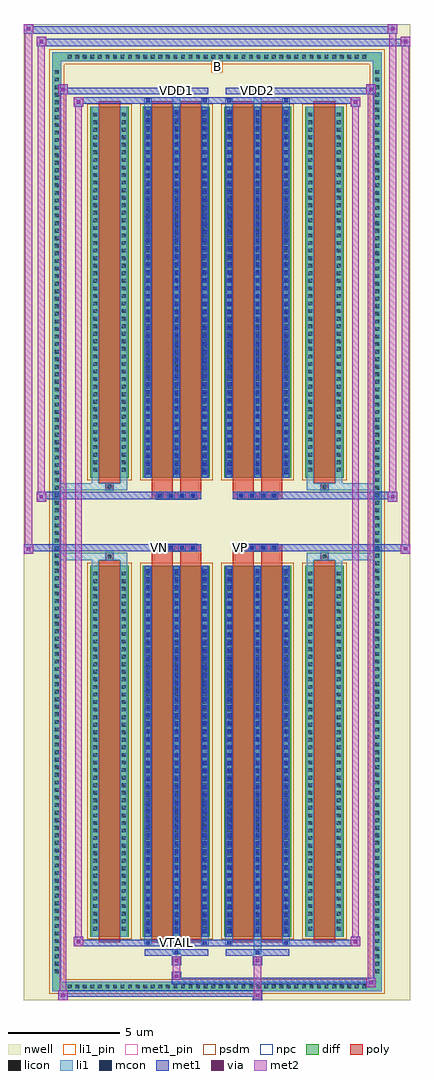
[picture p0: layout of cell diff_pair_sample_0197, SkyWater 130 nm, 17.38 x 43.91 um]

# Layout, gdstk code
import gdstk
lib = gdstk.Library(unit=1e-6, precision=5e-09)
def R(c, l, rs):  # rectangles x0, y0, x1, y1
    for r in rs: c.add(gdstk.rectangle(r[:2], r[2:], *l))
def A(c, l, x, y, w, h, nx, ny, dx, dy):  # array of equal rectangles
    R(c, l, [(x+i*dx, y+j*dy, x+i*dx+w, y+j*dy+h) for i in range(nx) for j in range(ny)])
def P(c, l, *ps):  # polygons
    for p in ps: c.add(gdstk.Polygon(p, *l))
nwell = (64, 20)
diff = (65, 20)
poly = (66, 20)
licon = (66, 44)
li1_pin = (67, 16)
li1 = (67, 20)
mcon = (67, 44)
met1_pin = (68, 16)
met1 = (68, 20)
via = (68, 44)
met2 = (69, 20)
psdm = (94, 20)
npc = (95, 20)

diff_pair_sample_0197 = lib.new_cell('diff_pair_sample_0197')
R(diff_pair_sample_0197, nwell, [(-8.69,-21.52,8.69,22.39), (-6.01,-19.71,-0.01,-0.805), (0.01,-19.71,6.01,-0.805), (-6.01,0.805,-0.01,19.71), (0.01,0.805,6.01,19.71)])
A(diff_pair_sample_0197, diff, -6.835, -21.12, 0.41, 0.41, 40, 2, 0.34, 41.83)
A(diff_pair_sample_0197, diff, -7.42, -20.435, 0.41, 0.41, 1, 120, 0, 0.34)
A(diff_pair_sample_0197, diff, 7.01, -20.435, 0.41, 0.41, 1, 120, 0, 0.34)
R(diff_pair_sample_0197, diff, [(-6.835,-21.12,6.835,-20.71), (-7.42,-20.435,-7.01,20.435), (7.01,-20.435,7.42,20.435), (-5.7,-18.665,-3.97,-1.985), (-3.33,-18.665,-0.32,-1.985), (0.32,-18.665,3.33,-1.985), (3.97,-18.665,5.7,-1.985), (-5.7,1.985,-3.97,18.665), (-3.33,1.985,-0.32,18.665), (0.32,1.985,3.33,18.665), (3.97,1.985,5.7,18.665), (-6.835,20.71,6.835,21.12)])
P(diff_pair_sample_0197, diff, [(7.42,21.12),(-7.42,21.12),(-7.42,-20.71),(-7.01,-20.71),(-7.01,20.71),(7.01,20.71),(7.01,-20.71),(-7.01,-20.71),(-7.42,-20.71),(-7.42,-21.12),(7.42,-21.12)])
A(diff_pair_sample_0197, poly, -2.74, -1.335, 0.33, 0.33, 4, 2, 0.5, 2.34)
A(diff_pair_sample_0197, poly, 0.91, -1.335, 0.33, 0.33, 4, 2, 0.5, 2.34)
R(diff_pair_sample_0197, poly, [(-5.31,-18.915,-4.36,-1.735), (-2.94,-18.915,-1.99,-1.735), (-1.66,-18.915,-0.71,-1.735), (0.71,-18.915,1.66,-1.735), (1.99,-18.915,2.94,-1.735), (4.36,-18.915,5.31,-1.735), (-5,-1.735,-4.67,-1.405), (-5,-1.735,-4.67,-1.405), (-2.94,-1.735,-1.99,-1.335), (-1.66,-1.735,-0.71,-1.335), (0.71,-1.735,1.66,-1.335), (1.99,-1.735,2.94,-1.335), (4.67,-1.735,5,-1.405), (4.67,-1.735,5,-1.405), (-2.94,-1.335,-0.71,-1.005), (0.71,-1.335,2.94,-1.005), (-2.94,1.005,-0.71,1.335), (0.71,1.005,2.94,1.335), (-2.94,1.335,-1.99,1.735), (-1.66,1.335,-0.71,1.735), (0.71,1.335,1.66,1.735), (1.99,1.335,2.94,1.735), (-5,1.405,-4.67,1.735), (-5,1.405,-4.67,1.735), (4.67,1.405,5,1.735), (4.67,1.405,5,1.735), (-5.31,1.735,-4.36,18.915), (-2.94,1.735,-1.99,18.915), (-1.66,1.735,-0.71,18.915), (0.71,1.735,1.66,18.915), (1.99,1.735,2.94,18.915), (4.36,1.735,5.31,18.915)])
A(diff_pair_sample_0197, licon, -6.715, -21, 0.17, 0.17, 40, 2, 0.34, 41.83)
A(diff_pair_sample_0197, licon, -7.3, -20.315, 0.17, 0.17, 1, 120, 0, 0.34)
A(diff_pair_sample_0197, licon, 7.13, -20.315, 0.17, 0.17, 1, 120, 0, 0.34)
A(diff_pair_sample_0197, licon, -5.56, -18.4, 0.17, 0.17, 1, 48, 0, 0.34)
A(diff_pair_sample_0197, licon, -4.28, -18.4, 0.17, 0.17, 1, 48, 0, 0.34)
A(diff_pair_sample_0197, licon, -3.19, -18.4, 0.17, 0.17, 3, 48, 1.28, 0.34)
A(diff_pair_sample_0197, licon, 0.46, -18.4, 0.17, 0.17, 3, 48, 1.28, 0.34)
A(diff_pair_sample_0197, licon, 4.11, -18.4, 0.17, 0.17, 1, 48, 0, 0.34)
A(diff_pair_sample_0197, licon, 5.39, -18.4, 0.17, 0.17, 1, 48, 0, 0.34)
A(diff_pair_sample_0197, licon, -2.66, -1.255, 0.17, 0.17, 4, 2, 0.5, 2.34)
A(diff_pair_sample_0197, licon, 0.99, -1.255, 0.17, 0.17, 4, 2, 0.5, 2.34)
A(diff_pair_sample_0197, licon, -5.56, 2.25, 0.17, 0.17, 1, 48, 0, 0.34)
A(diff_pair_sample_0197, licon, -4.28, 2.25, 0.17, 0.17, 1, 48, 0, 0.34)
A(diff_pair_sample_0197, licon, -3.19, 2.25, 0.17, 0.17, 3, 48, 1.28, 0.34)
A(diff_pair_sample_0197, licon, 0.46, 2.25, 0.17, 0.17, 3, 48, 1.28, 0.34)
A(diff_pair_sample_0197, licon, 4.11, 2.25, 0.17, 0.17, 1, 48, 0, 0.34)
A(diff_pair_sample_0197, licon, 5.39, 2.25, 0.17, 0.17, 1, 48, 0, 0.34)
R(diff_pair_sample_0197, licon, [(-4.92,-1.655,-4.75,-1.485), (4.75,-1.655,4.92,-1.485), (-4.92,1.485,-4.75,1.655), (4.75,1.485,4.92,1.655)])
R(diff_pair_sample_0197, li1_pin, [(-0.25,20.21,0.25,20.71)])
A(diff_pair_sample_0197, li1, -6.795, -21.08, 0.33, 0.33, 40, 2, 0.34, 41.83)
A(diff_pair_sample_0197, li1, -7.38, -20.395, 0.33, 0.33, 1, 120, 0, 0.34)
A(diff_pair_sample_0197, li1, 7.05, -20.395, 0.33, 0.33, 1, 120, 0, 0.34)
A(diff_pair_sample_0197, li1, -3.27, -18.665, 0.33, 16.68, 3, 2, 1.28, 20.65)
A(diff_pair_sample_0197, li1, 0.38, -18.665, 0.33, 16.68, 3, 2, 1.28, 20.65)
A(diff_pair_sample_0197, li1, -3.19, -18.51, 0.17, 0.17, 3, 46, 1.28, 0.36)
A(diff_pair_sample_0197, li1, -3.19, -18.51, 0.17, 16.37, 3, 2, 1.28, 20.65)
A(diff_pair_sample_0197, li1, 0.46, -18.51, 0.17, 0.17, 3, 46, 1.28, 0.36)
A(diff_pair_sample_0197, li1, 0.46, -18.51, 0.17, 16.37, 3, 2, 1.28, 20.65)
A(diff_pair_sample_0197, li1, -5.64, -18.48, 0.33, 0.33, 1, 48, 0, 0.34)
A(diff_pair_sample_0197, li1, -4.36, -18.48, 0.33, 0.33, 1, 48, 0, 0.34)
A(diff_pair_sample_0197, li1, -3.27, -18.48, 0.33, 0.33, 3, 48, 1.28, 0.34)
A(diff_pair_sample_0197, li1, 0.38, -18.48, 0.33, 0.33, 3, 48, 1.28, 0.34)
A(diff_pair_sample_0197, li1, 4.03, -18.48, 0.33, 0.33, 1, 48, 0, 0.34)
A(diff_pair_sample_0197, li1, 5.31, -18.48, 0.33, 0.33, 1, 48, 0, 0.34)
A(diff_pair_sample_0197, li1, -2.74, -1.335, 0.33, 0.33, 4, 2, 0.5, 2.34)
A(diff_pair_sample_0197, li1, 0.91, -1.335, 0.33, 0.33, 4, 2, 0.5, 2.34)
A(diff_pair_sample_0197, li1, -3.19, 2.14, 0.17, 0.17, 3, 46, 1.28, 0.36)
A(diff_pair_sample_0197, li1, 0.46, 2.14, 0.17, 0.17, 3, 46, 1.28, 0.36)
A(diff_pair_sample_0197, li1, -5.64, 2.17, 0.33, 0.33, 1, 48, 0, 0.34)
A(diff_pair_sample_0197, li1, -4.36, 2.17, 0.33, 0.33, 1, 48, 0, 0.34)
A(diff_pair_sample_0197, li1, -3.27, 2.17, 0.33, 0.33, 3, 48, 1.28, 0.34)
A(diff_pair_sample_0197, li1, 0.38, 2.17, 0.33, 0.33, 3, 48, 1.28, 0.34)
A(diff_pair_sample_0197, li1, 4.03, 2.17, 0.33, 0.33, 1, 48, 0, 0.34)
A(diff_pair_sample_0197, li1, 5.31, 2.17, 0.33, 0.33, 1, 48, 0, 0.34)
R(diff_pair_sample_0197, li1, [(-7.42,-21.12,-7.01,-20.71), (-7.42,-21.12,-7.01,-20.71), (-7.01,-21.12,7.01,-20.71), (7.01,-21.12,7.42,-20.71), (7.01,-21.12,7.42,-20.71), (-7.42,-20.71,-7.01,20.71), (7.01,-20.71,7.42,20.71), (-1.99,-19.47,-1.66,-18.665), (-1.91,-19.47,-1.74,-19.3), (1.66,-19.47,1.99,-18.665), (1.74,-19.47,1.91,-19.3), (-3.27,-19.04,-2.94,-18.665), (-3.19,-19.04,-3.02,-18.87), (-0.71,-19.04,-0.38,-18.665), (-0.63,-19.04,-0.46,-18.87), (0.38,-19.04,0.71,-18.665), (0.46,-19.04,0.63,-18.87), (2.94,-19.04,3.27,-18.665), (3.02,-19.04,3.19,-18.87), (-5.64,-18.665,-5.31,-1.985), (-4.36,-18.665,-4.03,-1.985), (4.03,-18.665,4.36,-1.985), (5.31,-18.665,5.64,-1.985), (-5.64,-1.985,-5.31,-1.405), (-4.36,-1.985,-4.03,-1.405), (4.03,-1.985,4.36,-1.405), (5.31,-1.985,5.64,-1.405), (-7.42,-1.735,-5,-1.405), (-5.64,-1.735,-5,-1.405), (-5,-1.735,-4.67,-1.405), (-4.67,-1.735,-4.03,-1.405), (4.03,-1.735,4.67,-1.405), (4.67,-1.735,5,-1.405), (4.67,-1.735,7.42,-1.405), (5,-1.735,5.64,-1.405), (-7.42,1.405,-5,1.735), (-5.64,1.405,-5,1.735), (-5.64,1.405,-5.31,1.985), (-5,1.405,-4.67,1.735), (-4.67,1.405,-4.03,1.735), (-4.36,1.405,-4.03,1.985), (4.03,1.405,4.67,1.735), (4.03,1.405,4.36,1.985), (4.67,1.405,5,1.735), (4.67,1.405,7.42,1.735), (5,1.405,5.64,1.735), (5.31,1.405,5.64,1.985), (-5.64,1.985,-5.31,18.665), (-4.36,1.985,-4.03,18.665), (4.03,1.985,4.36,18.665), (5.31,1.985,5.64,18.665), (-3.27,18.665,-2.94,19.04), (-1.99,18.665,-1.66,19.47), (-0.71,18.665,-0.38,19.04), (0.38,18.665,0.71,19.04), (1.66,18.665,1.99,19.47), (2.94,18.665,3.27,19.04), (-3.19,18.87,-3.02,19.04), (-0.63,18.87,-0.46,19.04), (0.46,18.87,0.63,19.04), (3.02,18.87,3.19,19.04), (-1.91,19.3,-1.74,19.47), (1.74,19.3,1.91,19.47), (-7.42,20.71,-7.01,21.12), (-7.42,20.71,-7.01,21.12), (-7.01,20.71,7.01,21.12), (7.01,20.71,7.42,21.12), (7.01,20.71,7.42,21.12)])
A(diff_pair_sample_0197, mcon, -3.19, -18.51, 0.17, 0.17, 3, 46, 1.28, 0.36)
A(diff_pair_sample_0197, mcon, 0.46, -18.51, 0.17, 0.17, 3, 46, 1.28, 0.36)
A(diff_pair_sample_0197, mcon, -2.66, -1.255, 0.17, 0.17, 4, 2, 0.5, 2.34)
A(diff_pair_sample_0197, mcon, 0.99, -1.255, 0.17, 0.17, 4, 2, 0.5, 2.34)
A(diff_pair_sample_0197, mcon, -3.19, 2.14, 0.17, 0.17, 3, 46, 1.28, 0.36)
A(diff_pair_sample_0197, mcon, 0.46, 2.14, 0.17, 0.17, 3, 46, 1.28, 0.36)
R(diff_pair_sample_0197, mcon, [(-1.91,-19.47,-1.74,-19.3), (1.74,-19.47,1.91,-19.3), (-3.19,-19.04,-3.02,-18.87), (-0.63,-19.04,-0.46,-18.87), (0.46,-19.04,0.63,-18.87), (3.02,-19.04,3.19,-18.87), (-3.19,18.87,-3.02,19.04), (-0.63,18.87,-0.46,19.04), (0.46,18.87,0.63,19.04), (3.02,18.87,3.19,19.04), (-1.91,19.3,-1.74,19.47), (1.74,19.3,1.91,19.47)])
R(diff_pair_sample_0197, met1_pin, [(-1.96,-19.08,-1.69,-18.81), (-2.71,-1.295,-2.44,-1.025), (0.94,-1.295,1.21,-1.025), (-1.96,19.26,-1.69,19.53), (1.69,19.26,1.96,19.53)])
A(diff_pair_sample_0197, met1, -3.25, -18.665, 0.29, 16.68, 3, 2, 1.28, 20.65)
A(diff_pair_sample_0197, met1, 0.4, -18.665, 0.29, 16.68, 3, 2, 1.28, 20.65)
A(diff_pair_sample_0197, met1, -3.25, -18.57, 0.29, 0.29, 3, 46, 1.28, 0.36)
A(diff_pair_sample_0197, met1, 0.4, -18.57, 0.29, 0.29, 3, 46, 1.28, 0.36)
A(diff_pair_sample_0197, met1, -2.72, -1.315, 0.29, 0.29, 4, 2, 0.5, 2.34)
A(diff_pair_sample_0197, met1, 0.93, -1.315, 0.29, 0.29, 4, 2, 0.5, 2.34)
A(diff_pair_sample_0197, met1, -3.25, 2.08, 0.29, 0.29, 3, 46, 1.28, 0.36)
A(diff_pair_sample_0197, met1, 0.4, 2.08, 0.29, 0.29, 3, 46, 1.28, 0.36)
R(diff_pair_sample_0197, met1, [(-7.15,-21.52,-6.72,-21.09), (1.61,-21.52,2.04,-21.09), (-7.15,-21.38,2.04,-21.09), (6.72,-20.95,7.15,-20.52), (-2.04,-20.81,7.15,-20.52), (-2.04,-20.67,-1.61,-20.24), (-2.04,-19.96,-1.61,-19.53), (1.61,-19.96,2.04,-19.53), (-3.25,-19.53,-0.4,-19.24), (-1.97,-19.53,-1.68,-19.24), (0.4,-19.53,3.25,-19.24), (1.68,-19.53,1.97,-19.24), (-6.44,-19.1,-6.01,-18.67), (-6.44,-19.1,-3.25,-18.81), (-3.25,-19.1,-2.96,-18.81), (-3.25,-19.1,-0.4,-18.81), (-0.69,-19.1,-0.4,-18.81), (-0.4,-19.1,0.4,-18.81), (0.4,-19.1,0.69,-18.81), (0.4,-19.1,3.25,-18.81), (2.96,-19.1,3.25,-18.81), (3.25,-19.1,6.44,-18.81), (6.01,-19.1,6.44,-18.67), (-8.69,-1.435,-8.26,-1.005), (8.26,-1.435,8.69,-1.005), (-8.69,-1.335,-0.71,-1.005), (-2.94,-1.335,-0.71,-1.005), (0.71,-1.335,2.94,-1.005), (0.71,-1.335,8.69,-1.005), (-8.12,0.905,-7.69,1.335), (7.69,0.905,8.12,1.335), (-8.12,1.005,-2.94,1.335), (-2.94,1.005,-0.71,1.335), (0.71,1.005,2.94,1.335), (2.94,1.005,8.12,1.335), (-6.44,18.67,-6.01,19.1), (6.01,18.67,6.44,19.1), (-6.44,18.81,-3.25,19.1), (-3.25,18.81,-2.96,19.1), (-3.25,18.81,-0.4,19.1), (-0.69,18.81,-0.4,19.1), (-0.4,18.81,0.4,19.1), (0.4,18.81,0.69,19.1), (0.4,18.81,3.25,19.1), (2.96,18.81,3.25,19.1), (3.25,18.81,6.44,19.1), (-7.15,19.24,-6.72,19.67), (-7.15,19.24,-3.25,19.53), (-3.25,19.24,-0.4,19.53), (-1.97,19.24,-1.68,19.53), (0.4,19.24,3.25,19.53), (1.68,19.24,1.97,19.53), (3.25,19.24,7.15,19.53), (6.72,19.24,7.15,19.67), (-8.12,21.39,-7.69,21.82), (-8.12,21.39,-6.01,21.72), (-6.01,21.39,6.01,21.72), (6.01,21.39,8.69,21.72), (8.26,21.39,8.69,21.82), (-8.69,21.96,-8.26,22.39), (-8.69,21.96,-6.01,22.29), (-6.01,21.96,6.01,22.29), (6.01,21.96,8.12,22.29), (7.69,21.96,8.12,22.39)])
R(diff_pair_sample_0197, via, [(-7.01,-21.38,-6.86,-21.23), (1.75,-21.38,1.9,-21.23), (6.86,-20.81,7.01,-20.66), (-1.9,-20.53,-1.75,-20.38), (-1.9,-19.82,-1.75,-19.67), (1.75,-19.82,1.9,-19.67), (-6.3,-18.96,-6.15,-18.81), (6.15,-18.96,6.3,-18.81), (-8.55,-1.295,-8.4,-1.145), (8.4,-1.295,8.55,-1.145), (-7.98,1.045,-7.83,1.195), (7.83,1.045,7.98,1.195), (-6.3,18.81,-6.15,18.96), (6.15,18.81,6.3,18.96), (-7.01,19.38,-6.86,19.53), (6.86,19.38,7.01,19.53), (-7.98,21.53,-7.83,21.68), (8.4,21.53,8.55,21.68), (-8.55,22.1,-8.4,22.25), (7.83,22.1,7.98,22.25)])
R(diff_pair_sample_0197, met2, [(-7.15,-21.52,-6.72,-21.09), (-7.08,-21.52,-6.79,19.67), (-6.79,-21.52,-6.72,-21.09), (-7.1,-21.47,-6.77,-21.14), (1.66,-21.47,1.99,-21.14), (1.66,-21.14,1.99,-19.91), (6.72,-20.95,7.15,-20.52), (6.79,-20.95,7.08,19.67), (7.08,-20.95,7.15,-20.52), (6.77,-20.9,7.1,-20.57), (-1.99,-20.62,-1.66,-20.29), (-1.99,-20.29,-1.66,-19.91), (-1.99,-19.91,-1.66,-19.58), (1.66,-19.91,1.99,-19.58), (-6.44,-19.1,-6.01,-18.67), (-6.37,-19.1,-6.08,19.1), (-6.08,-19.1,-6.01,-18.67), (6.01,-19.1,6.44,-18.67), (6.08,-19.1,6.37,19.1), (6.37,-19.1,6.44,-18.67), (-6.39,-19.05,-6.06,-18.72), (6.06,-19.05,6.39,-18.72), (-8.69,-1.435,-8.26,-1.005), (-8.64,-1.435,-8.31,22.39), (-8.31,-1.435,-8.26,-1.005), (8.26,-1.435,8.69,-1.005), (8.31,-1.435,8.64,21.82), (8.64,-1.435,8.69,-1.005), (-8.64,-1.385,-8.31,-1.055), (8.31,-1.385,8.64,-1.055), (-8.12,0.905,-7.69,1.335), (-8.07,0.905,-7.74,21.82), (-7.74,0.905,-7.69,1.335), (7.69,0.905,8.12,1.335), (7.74,0.905,8.07,22.39), (8.07,0.905,8.12,1.335), (-8.07,0.955,-7.74,1.285), (7.74,0.955,8.07,1.285), (-6.44,18.67,-6.01,19.1), (-6.08,18.67,-6.01,19.1), (6.01,18.67,6.44,19.1), (6.37,18.67,6.44,19.1), (-6.39,18.72,-6.06,19.05), (6.06,18.72,6.39,19.05), (-7.15,19.24,-6.72,19.67), (-6.79,19.24,-6.72,19.67), (6.72,19.24,7.15,19.67), (7.08,19.24,7.15,19.67), (-7.1,19.29,-6.77,19.62), (6.77,19.29,7.1,19.62), (-8.12,21.39,-7.69,21.82), (-7.74,21.39,-7.69,21.82), (8.26,21.39,8.69,21.82), (8.64,21.39,8.69,21.82), (-8.07,21.44,-7.74,21.77), (8.31,21.44,8.64,21.77), (-8.69,21.96,-8.26,22.39), (-8.31,21.96,-8.26,22.39), (7.69,21.96,8.12,22.39), (8.07,21.96,8.12,22.39), (-8.64,22.01,-8.31,22.34), (7.74,22.01,8.07,22.34)])
R(diff_pair_sample_0197, psdm, [(-5.83,-18.795,-3.84,-1.855), (-3.46,-18.795,-0.19,-1.855), (0.19,-18.795,3.46,-1.855), (3.84,-18.795,5.83,-1.855), (-5.83,1.855,-3.84,18.795), (-3.46,1.855,-0.19,18.795), (0.19,1.855,3.46,18.795), (3.84,1.855,5.83,18.795)])
P(diff_pair_sample_0197, psdm, [(7.55,21.25),(-7.55,21.25),(-7.55,-20.58),(-6.88,-20.58),(-6.88,20.58),(6.88,20.58),(6.88,-20.58),(-6.88,-20.58),(-7.55,-20.58),(-7.55,-21.25),(7.55,-21.25)])
A(diff_pair_sample_0197, npc, -2.76, -1.355, 0.37, 0.37, 4, 2, 0.5, 2.34)
A(diff_pair_sample_0197, npc, 0.89, -1.355, 0.37, 0.37, 4, 2, 0.5, 2.34)
R(diff_pair_sample_0197, npc, [(-5.02,-1.755,-4.65,-1.385), (4.65,-1.755,5.02,-1.385), (-2.76,-1.355,-1.89,-0.985), (-2.76,-1.355,-1.89,-0.985), (-2.26,-1.355,-1.39,-0.985), (-2.26,-1.355,-1.39,-0.985), (-1.76,-1.355,-0.89,-0.985), (-1.76,-1.355,-0.89,-0.985), (0.89,-1.355,1.76,-0.985), (0.89,-1.355,1.76,-0.985), (1.39,-1.355,2.26,-0.985), (1.39,-1.355,2.26,-0.985), (1.89,-1.355,2.76,-0.985), (1.89,-1.355,2.76,-0.985), (-2.76,0.985,-1.89,1.355), (-2.76,0.985,-1.89,1.355), (-2.26,0.985,-1.39,1.355), (-2.26,0.985,-1.39,1.355), (-1.76,0.985,-0.89,1.355), (-1.76,0.985,-0.89,1.355), (0.89,0.985,1.76,1.355), (0.89,0.985,1.76,1.355), (1.39,0.985,2.26,1.355), (1.39,0.985,2.26,1.355), (1.89,0.985,2.76,1.355), (1.89,0.985,2.76,1.355), (-5.02,1.385,-4.65,1.755), (4.65,1.385,5.02,1.755)])
diff_pair_sample_0197.add(gdstk.Label('VTAIL', (-1.825,-18.945), layer=68, texttype=5))
diff_pair_sample_0197.add(gdstk.Label('VN', (-2.575,-1.16), layer=68, texttype=5))
diff_pair_sample_0197.add(gdstk.Label('VP', (1.075,-1.16), layer=68, texttype=5))
diff_pair_sample_0197.add(gdstk.Label('B', (0,20.46), layer=67, texttype=5))
diff_pair_sample_0197.add(gdstk.Label('VDD2', (1.825,19.395), layer=68, texttype=5))
diff_pair_sample_0197.add(gdstk.Label('VDD1', (-1.825,19.395), layer=68, texttype=5))

lib.write_gds('diff_pair_sample_0197.gds')
